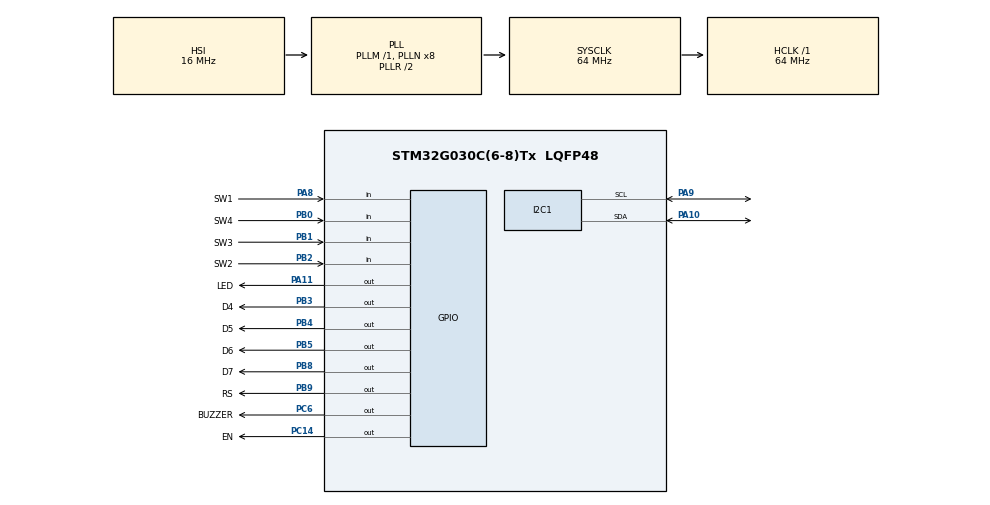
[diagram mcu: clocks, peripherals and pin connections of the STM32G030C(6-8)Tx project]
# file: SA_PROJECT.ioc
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I2C1.Timing=0x10707DBC
Mcu.Family=STM32G0
Mcu.Name=STM32G030C(6-8)Tx
Mcu.Package=LQFP48
PA10.Mode=I2C
PA10.Signal=I2C1_SDA
PA11\ [PA9].GPIO_Label=LED
PA11\ [PA9].Signal=GPIO_Output
PA13.Mode=Serial_Wire
PA13.Signal=SYS_SWDIO
PA14-BOOT0.Mode=Serial_Wire
PA14-BOOT0.Signal=SYS_SWCLK
PA8.GPIO_Label=SW1
PA8.Signal=GPIO_Input
PA9.Mode=I2C
PA9.Signal=I2C1_SCL
PB0.GPIO_Label=SW4
PB0.Signal=GPIO_Input
PB1.GPIO_Label=SW3
PB1.Signal=GPIO_Input
PB2.GPIO_Label=SW2
PB2.Signal=GPIO_Input
PB3.GPIO_Label=D4
PB3.Signal=GPIO_Output
PB4.GPIO_Label=D5
PB4.Signal=GPIO_Output
PB5.GPIO_Label=D6
PB5.Signal=GPIO_Output
PB8.GPIO_Label=D7
PB8.Signal=GPIO_Output
PB9.GPIO_Label=RS
PB9.Signal=GPIO_Output
PC14-OSC32_IN\ (PC14).GPIO_Label=EN
PC14-OSC32_IN\ (PC14).Signal=GPIO_Output
PC6.GPIO_Label=BUZZER
PC6.Signal=GPIO_Output
PF0-OSC_IN\ (PF0).Mode=HSE-External-Oscillator
PF0-OSC_IN\ (PF0).Signal=RCC_OSC_IN
PF1-OSC_OUT\ (PF1).Mode=HSE-External-Oscillator
PF1-OSC_OUT\ (PF1).Signal=RCC_OSC_OUT
ProjectManager.HeapSize=0x200
ProjectManager.StackSize=0x400
ProjectManager.TargetToolchain=STM32CubeIDE
RCC.ADCFreq_Value=64000000
RCC.AHBFreq_Value=64000000
RCC.CortexFreq_Value=64000000
RCC.EXTERNAL_CLOCK_VALUE=12288000
RCC.HCLKFreq_Value=64000000
RCC.HSI_VALUE=16000000
RCC.LSE_VALUE=32768
RCC.SYSCLKFreq_VALUE=64000000
RCC.SYSCLKSource=RCC_SYSCLKSOURCE_PLLCLK
RCC.VCOOutputFreq_Value=128000000
board=custom

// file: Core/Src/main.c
/* USER CODE BEGIN Header */
/**
  ******************************************************************************
  * @file           : main.c
  * @brief          : Main program body
  ******************************************************************************
  * @attention
  *
  * Copyright (c) 2024 STMicroelectronics.
  * All rights reserved.
  *
  * This software is licensed under terms that can be found in the LICENSE file
  * in the root directory of this software component.
  * If no LICENSE file comes with this software, it is provided AS-IS.
  *
  ******************************************************************************
  */
/* USER CODE END Header */
#include "main.h"

/* USER CODE BEGIN Includes */
#include "stdio.h"

/* USER CODE END Includes */

/* USER CODE BEGIN PD */

int x=0;
int y=0;
int val=4;
int k1,k2,k3,k4;
/* USER CODE END PD */

I2C_HandleTypeDef hi2c1;

void SystemClock_Config(void);
static void MX_GPIO_Init(void);
static void MX_I2C1_Init(void);

/* USER CODE BEGIN 0 */

#define DS3231_ADDRESS 0xD0
uint8_t decToBcd(int val)
{
  return (uint8_t)( (val/10*16) + (val%10) );
}
// Convert binary coded decimal to normal decimal numbers
int bcdToDec(uint8_t val)
{
  return (int)( (val/16*10) + (val%16) );
}
typedef struct {
	uint8_t seconds;
	uint8_t minutes;
	uint8_t hour;
	uint8_t dayofweek;
	uint8_t dayofmonth;
	uint8_t month;
	uint8_t year;
} TIME;
TIME time;

// function to set time

void Set_Time (uint8_t sec, uint8_t min, uint8_t hour, uint8_t dow, uint8_t dom, uint8_t month, uint8_t year)
{
	uint8_t set_time[7];
	set_time[0] = decToBcd(sec);
	set_time[1] = decToBcd(min);
	set_time[2] = decToBcd(hour);
	set_time[3] = decToBcd(dow);
	set_time[4] = decToBcd(dom);
	set_time[5] = decToBcd(month);
	set_time[6] = decToBcd(year);

	HAL_I2C_Mem_Write(&hi2c1, DS3231_ADDRESS, 0x00, 1, set_time, 7, 1000);
}
void Get_Time (void)
{
	uint8_t get_time[7];
	HAL_I2C_Mem_Read(&hi2c1, DS3231_ADDRESS, 0x00, 1, get_time, 7, 1000);
	time.seconds = bcdToDec(get_time[0]);
	time.minutes = bcdToDec(get_time[1]);
	time.hour = bcdToDec(get_time[2]);
	time.dayofweek = bcdToDec(get_time[3]);
	time.dayofmonth = bcdToDec(get_time[4]);
	time.month = bcdToDec(get_time[5]);
	time.year = bcdToDec(get_time[6]);
}

int TEMP;
char buffer[15];
void gws()
{
lcd_init();
LCDClear();
lcd_put_cur(1, 1);
LCDSendString("Stay Healthy :)");
HAL_Delay(500);//
 LCDClear();
lcd_put_cur(0, 1);
LCDSendString("Get Well Soon");// wish
HAL_Delay(400);
}

void am8()
{
	if(time.hour==12)
	{
		if(time.minutes==05)
		{

		if(time.seconds<=30)
		{
			  		          {

			  		        	  for(x=1;x<15;x++)
			  		        	  {

			  		          HAL_GPIO_WritePin(BUZZER_GPIO_Port, BUZZER_Pin, GPIO_PIN_SET);
			  		          HAL_GPIO_WritePin(LED_GPIO_Port, LED_Pin, GPIO_PIN_SET);
			  		          HAL_Delay(500);
			  		         		  HAL_GPIO_WritePin(BUZZER_GPIO_Port, BUZZER_Pin, GPIO_PIN_RESET);
			  		         		  HAL_GPIO_WritePin(LED_GPIO_Port, LED_Pin, GPIO_PIN_RESET);

			  		        	  }
			  		        	  val=0;

		}

			  		          }
	}
		}

	   	}
void pm2()
{
	if(time.hour==8)
		{
			if(time.minutes==00)
			{

			if(time.seconds<=30)
			{
				  		          {

				  		        	  	for(y=0;y<15;y++)
				  		        	  	{

				  		          HAL_GPIO_WritePin(BUZZER_GPIO_Port, BUZZER_Pin, GPIO_PIN_SET);
				  		          HAL_GPIO_WritePin(LED_GPIO_Port, LED_Pin, GPIO_PIN_SET);
				  		         		  HAL_Delay(500);
				  		         		  HAL_GPIO_WritePin(BUZZER_GPIO_Port, BUZZER_Pin, GPIO_PIN_RESET);
				  		         		  HAL_GPIO_WritePin(LED_GPIO_Port, LED_Pin, GPIO_PIN_RESET);

				  		        	  	}

			}

				  		          }
		}
			}
	if(time.hour==14)
		{
			if(time.minutes==00)
			{

			if(time.seconds<=30)
			{

				for(y=0;y<15;y++)
				{

				  		          HAL_GPIO_WritePin(BUZZER_GPIO_Port, BUZZER_Pin, GPIO_PIN_SET);
				  		          HAL_GPIO_WritePin(LED_GPIO_Port, LED_Pin, GPIO_PIN_SET);
				  		         		  HAL_Delay(2000);

				  		         		  HAL_GPIO_WritePin(BUZZER_GPIO_Port, BUZZER_Pin, GPIO_PIN_RESET);
				  		         		  HAL_GPIO_WritePin(LED_GPIO_Port, LED_Pin, GPIO_PIN_RESET);

				}
				val=0;

			}

				  		          }
		}
			}
void pm8()
{
	if(time.hour==8)
		{
			if(time.minutes==00)
			{

			if(time.seconds<=30)
			{
				  		          {

				  		        	  	for(y=0;y<15;y++)
				  		        	  	{

				  		          HAL_GPIO_WritePin(BUZZER_GPIO_Port, BUZZER_Pin, GPIO_PIN_SET);
				  		          HAL_GPIO_WritePin(LED_GPIO_Port, LED_Pin, GPIO_PIN_SET);
				  		         		  HAL_Delay(500);
				  		         		  HAL_GPIO_WritePin(BUZZER_GPIO_Port, BUZZER_Pin, GPIO_PIN_RESET);
				  		         		  HAL_GPIO_WritePin(LED_GPIO_Port, LED_Pin, GPIO_PIN_RESET);

				  		        	  	}

			}

				  		          }
		}
			}
	if(time.hour==14)
		{
			if(time.minutes==00)
			{

			if(time.seconds<=30)
			{

				for(y=0;y<15;y++)
				{

				  		          HAL_GPIO_WritePin(BUZZER_GPIO_Port, BUZZER_Pin, GPIO_PIN_SET);
				  		          HAL_GPIO_WritePin(LED_GPIO_Port, LED_Pin, GPIO_PIN_SET);
				  		         		  HAL_Delay(2000);

				  		         		  HAL_GPIO_WritePin(BUZZER_GPIO_Port, BUZZER_Pin, GPIO_PIN_RESET);
				  		         		  HAL_GPIO_WritePin(LED_GPIO_Port, LED_Pin, GPIO_PIN_RESET);

				}

			}

				  		          }
		}
	if(time.hour==20)
			{
				if(time.minutes==00)
				{

				if(time.seconds<=30)
				{

					for(y=0;y<15;y++)
					{

					  		          HAL_GPIO_WritePin(BUZZER_GPIO_Port, BUZZER_Pin, GPIO_PIN_SET);
					  		          HAL_GPIO_WritePin(LED_GPIO_Port, LED_Pin, GPIO_PIN_SET);
					  		         		  HAL_Delay(2000);

					  		         		  HAL_GPIO_WritePin(BUZZER_GPIO_Port, BUZZER_Pin, GPIO_PIN_RESET);
					  		         		  HAL_GPIO_WritePin(LED_GPIO_Port, LED_Pin, GPIO_PIN_RESET);

					}
					y++;

				}

					  		          }
			}
			}

/* USER CODE END 0 */

int main(void)
{

  /* MCU Configuration--------------------------------------------------------*/

  /* Reset of all peripherals, Initializes the Flash interface and the Systick. */
  HAL_Init();

  /* Configure the system clock */
  SystemClock_Config();

  /* Initialize all configured peripherals */
  MX_GPIO_Init();
  MX_I2C1_Init();
  /* USER CODE BEGIN 2 */

  lcd_init();
  Set_Time(00, 14, 13, 1, 05, 05, 24);

  lcd_put_cur(0, 0);
  LCDSendString("Welcome To Our");
  HAL_Delay(1000);
  LCDClear();// print a messege at startup
    lcd_put_cur(0, 0);
    LCDSendString("Medicine");
    HAL_Delay(1000);
    LCDClear();

    lcd_put_cur(0, 0);
        LCDSendString("Reminder!!");
        HAL_Delay(1000);
    gws();
     HAL_Delay(2000);
     LCDClear();
     lcd_put_cur(0, 1);
     LCDSendString("Press buttons!");

     HAL_Delay(1000);
     LCDClear();

  /* USER CODE END 2 */

  /* Infinite loop */
  while (1)
while (1)
{
  /* USER CODE BEGIN 3 */

  k1 = HAL_GPIO_ReadPin(SW1_GPIO_Port, SW1_Pin);
  k2 = HAL_GPIO_ReadPin(SW2_GPIO_Port, SW2_Pin);
  k3 = HAL_GPIO_ReadPin(SW3_GPIO_Port, SW3_Pin);
  k4 = HAL_GPIO_ReadPin(SW4_GPIO_Port, SW4_Pin);

  Get_Time();

  sprintf(buffer, "%02d:%02d:%02d", time.hour, time.minutes, time.seconds);
  lcd_put_cur(0, 0);
  LCDSendString(buffer);

  sprintf(buffer, "%02d-%02d-20%02d", time.dayofmonth, time.month, time.year);
  lcd_put_cur(1, 0);
  LCDSendString(buffer);

  HAL_Delay(500);

  if (k1 == GPIO_PIN_RESET)
  {
    val = 1;
  }
  if (k2 == GPIO_PIN_RESET)
  {
    val = 2;
  }
  if (k3 == GPIO_PIN_RESET)
  {
    val = 3;
  }
  if (k4 == GPIO_PIN_RESET)
  {
    val = 0;
  }

  if (val == 1)
  {
    LCDClear();
    lcd_put_cur(0, 1);
    LCDSendString("Alarm at 8 AM!");
    HAL_Delay(500);
    LCDClear();
    am8();
    LCDClear();
  }

  if (val == 2)
  {
    LCDClear();
    lcd_put_cur(0, 1);
    LCDSendString("Alarm at 8 AM!");
    HAL_Delay(500);
    LCDClear();

    lcd_put_cur(0, 1);
    LCDSendString("Alarm at 2 PM!");
    HAL_Delay(500);
    LCDClear();

    pm2();
    LCDClear();
  }

  if (val == 3)
  {
    LCDClear();
    lcd_put_cur(0, 1);
    LCDSendString("Alarm at 8 AM!");
    HAL_Delay(500);
    LCDClear();

    lcd_put_cur(0, 1);
    LCDSendString("Alarm at 2 PM!");
    HAL_Delay(500);
    LCDClear();

    lcd_put_cur(0, 1);
    LCDSendString("Alarm at 8 PM!");
    HAL_Delay(500);
    LCDClear();

    pm8();
    LCDClear();
  }
}

  /* USER CODE END 3 */
}

void SystemClock_Config(void)
{
  RCC_OscInitTypeDef RCC_OscInitStruct = {0};
  RCC_ClkInitTypeDef RCC_ClkInitStruct = {0};

  /** Configure the main internal regulator output voltage
  */
  HAL_PWREx_ControlVoltageScaling(PWR_REGULATOR_VOLTAGE_SCALE1);

  /** Initializes the RCC Oscillators according to the specified parameters
  * in the RCC_OscInitTypeDef structure.
  */
  RCC_OscInitStruct.OscillatorType = RCC_OSCILLATORTYPE_HSI;
  RCC_OscInitStruct.HSIState = RCC_HSI_ON;
  RCC_OscInitStruct.HSIDiv = RCC_HSI_DIV1;
  RCC_OscInitStruct.HSICalibrationValue = RCC_HSICALIBRATION_DEFAULT;
  RCC_OscInitStruct.PLL.PLLState = RCC_PLL_ON;
  RCC_OscInitStruct.PLL.PLLSource = RCC_PLLSOURCE_HSI;
  RCC_OscInitStruct.PLL.PLLM = RCC_PLLM_DIV1;
  RCC_OscInitStruct.PLL.PLLN = 8;
  RCC_OscInitStruct.PLL.PLLP = RCC_PLLP_DIV2;
  RCC_OscInitStruct.PLL.PLLR = RCC_PLLR_DIV2;
  if (HAL_RCC_OscConfig(&RCC_OscInitStruct) != HAL_OK)
  {
    Error_Handler();
  }

  /** Initializes the CPU, AHB and APB buses clocks
  */
  RCC_ClkInitStruct.ClockType = RCC_CLOCKTYPE_HCLK|RCC_CLOCKTYPE_SYSCLK
                              |RCC_CLOCKTYPE_PCLK1;
  RCC_ClkInitStruct.SYSCLKSource = RCC_SYSCLKSOURCE_PLLCLK;
  RCC_ClkInitStruct.AHBCLKDivider = RCC_SYSCLK_DIV1;
  RCC_ClkInitStruct.APB1CLKDivider = RCC_HCLK_DIV1;

  if (HAL_RCC_ClockConfig(&RCC_ClkInitStruct, FLASH_LATENCY_2) != HAL_OK)
  {
    Error_Handler();
  }
}

static void MX_I2C1_Init(void)
{

  hi2c1.Instance = I2C1;
  hi2c1.Init.Timing = 0x10707DBC;
  hi2c1.Init.OwnAddress1 = 0;
  hi2c1.Init.AddressingMode = I2C_ADDRESSINGMODE_7BIT;
  hi2c1.Init.DualAddressMode = I2C_DUALADDRESS_DISABLE;
  hi2c1.Init.OwnAddress2 = 0;
  hi2c1.Init.OwnAddress2Masks = I2C_OA2_NOMASK;
  hi2c1.Init.GeneralCallMode = I2C_GENERALCALL_DISABLE;
  hi2c1.Init.NoStretchMode = I2C_NOSTRETCH_DISABLE;
  if (HAL_I2C_Init(&hi2c1) != HAL_OK)
  {
    Error_Handler();
  }

  /** Configure Analogue filter
  */
  if (HAL_I2CEx_ConfigAnalogFilter(&hi2c1, I2C_ANALOGFILTER_ENABLE) != HAL_OK)
  {
    Error_Handler();
  }

  /** Configure Digital filter
  */
  if (HAL_I2CEx_ConfigDigitalFilter(&hi2c1, 0) != HAL_OK)
  {
    Error_Handler();
  }

}

static void MX_GPIO_Init(void)
{
  GPIO_InitTypeDef GPIO_InitStruct = {0};

  /* GPIO Ports Clock Enable */
  __HAL_RCC_GPIOC_CLK_ENABLE();
  __HAL_RCC_GPIOF_CLK_ENABLE();
  __HAL_RCC_GPIOB_CLK_ENABLE();
  __HAL_RCC_GPIOA_CLK_ENABLE();

  /*Configure GPIO pin Output Level */
  HAL_GPIO_WritePin(GPIOC, EN_Pin|BUZZER_Pin, GPIO_PIN_RESET);

  /*Configure GPIO pin Output Level */
  HAL_GPIO_WritePin(LED_GPIO_Port, LED_Pin, GPIO_PIN_RESET);

  /*Configure GPIO pin Output Level */
  HAL_GPIO_WritePin(GPIOB, D4_Pin|D5_Pin|D6_Pin|D7_Pin
                          |RS_Pin, GPIO_PIN_RESET);

  /*Configure GPIO pins : EN_Pin BUZZER_Pin */
  GPIO_InitStruct.Pin = EN_Pin|BUZZER_Pin;
  GPIO_InitStruct.Mode = GPIO_MODE_OUTPUT_PP;
  GPIO_InitStruct.Pull = GPIO_NOPULL;
  GPIO_InitStruct.Speed = GPIO_SPEED_FREQ_LOW;
  HAL_GPIO_Init(GPIOC, &GPIO_InitStruct);

  /*Configure GPIO pins : SW4_Pin SW3_Pin SW2_Pin */
  GPIO_InitStruct.Pin = SW4_Pin|SW3_Pin|SW2_Pin;
  GPIO_InitStruct.Mode = GPIO_MODE_INPUT;
  GPIO_InitStruct.Pull = GPIO_NOPULL;
  HAL_GPIO_Init(GPIOB, &GPIO_InitStruct);

  /*Configure GPIO pin : SW1_Pin */
  GPIO_InitStruct.Pin = SW1_Pin;
  GPIO_InitStruct.Mode = GPIO_MODE_INPUT;
  GPIO_InitStruct.Pull = GPIO_NOPULL;
  HAL_GPIO_Init(SW1_GPIO_Port, &GPIO_InitStruct);

  /*Configure GPIO pin : LED_Pin */
  GPIO_InitStruct.Pin = LED_Pin;
  GPIO_InitStruct.Mode = GPIO_MODE_OUTPUT_PP;
  GPIO_InitStruct.Pull = GPIO_NOPULL;
  GPIO_InitStruct.Speed = GPIO_SPEED_FREQ_LOW;
  HAL_GPIO_Init(LED_GPIO_Port, &GPIO_InitStruct);

  /*Configure GPIO pins : D4_Pin D5_Pin D6_Pin D7_Pin
                           RS_Pin */
  GPIO_InitStruct.Pin = D4_Pin|D5_Pin|D6_Pin|D7_Pin
                          |RS_Pin;
  GPIO_InitStruct.Mode = GPIO_MODE_OUTPUT_PP;
  GPIO_InitStruct.Pull = GPIO_NOPULL;
  GPIO_InitStruct.Speed = GPIO_SPEED_FREQ_LOW;
  HAL_GPIO_Init(GPIOB, &GPIO_InitStruct);

}

void Error_Handler(void)
{
  __disable_irq();
  while (1)
  {
  }
}
